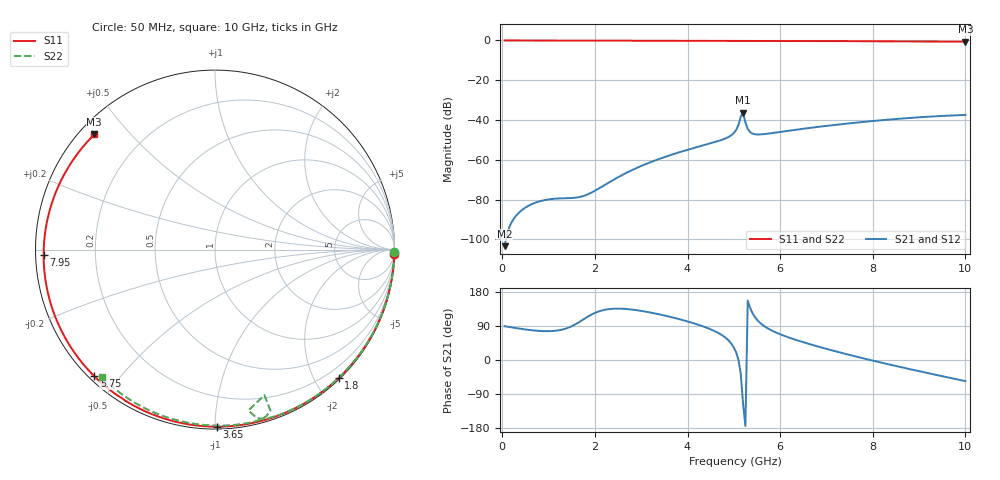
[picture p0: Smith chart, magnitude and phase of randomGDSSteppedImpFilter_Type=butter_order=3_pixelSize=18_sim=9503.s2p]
! freq	dB(S11)	phase(S11)	dB(S12)	phase(S12)
!  dB(S21)	phase(S21)	dB(S22)	phase(S22)
!S-par simulation data
#  GHz  S  DB  R 50
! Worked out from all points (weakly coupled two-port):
!   200 points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, 50 MHz to 10 GHz, reference 50 ohm
!   highest |S21| = -36.26 dB at 5.2 GHz (marker M1); lowest = -103.4 dB at 50 MHz (marker M2)
!   lowest |S11| = -0.6 dB at 10 GHz (marker M3), VSWR 27.42, Z = 2.12 + j20 ohm
!   |S11| at or under -10 dB: nowhere
!   |S22| runs from -1.3 to 0.0 dB; largest |S21 - S12| = 0
!   S11 on the Smith chart (normalised r, x): 50 MHz: 0, -87; 1.8 GHz: 0.02, -2.35; 3.65 GHz: 0.01, -1.01; 5.75 GHz: 0.02, -0.43; 7.95 GHz: 0.02, -0.02; 10 GHz: 0.04, +0.40
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0.05  -0.00 -1.3  -103.36 89.1  -103.36 89.1  -0.00 -0.8
0.85  -0.03 -22.1  -80.54 76.4  -80.54 76.4  -0.02 -12.9
1.75  -0.06 -44.8  -78.16 107.0  -78.16 107.0  -0.03 -26.3
1.8  -0.06 -46.0  -77.76 110.9  -77.76 110.9  -0.03 -27.0
2.7  -0.09 -67.7  -66.28 134.3  -66.28 134.3  -0.05 -40.1
3.4  -0.11 -83.8  -59.43 120.2  -59.43 120.2  -0.07 -50.1
3.65  -0.12 -89.4  -57.45 113.1  -57.45 113.1  -0.07 -53.6
4.8  -0.17 -114.1  -49.42 60.8  -49.42 60.8  -0.11 -69.8
5.05  -0.18 -119.3  -44.96 20.0  -44.96 20.0  -0.19 -74.5
5.1  -0.18 -120.4  -42.44 0.4  -42.44 0.4  -0.30 -76.1
5.15  -0.19 -121.5  -38.19 -36.5  -38.19 -36.5  -0.77 -78.3
5.2  -0.21 -122.4  -36.26 -117.0  -36.26 -117.0  -1.34 -71.3
5.25  -0.20 -123.4  -41.20 -174.4  -41.20 -174.4  -0.46 -71.0
5.3  -0.20 -124.4  -44.41 156.9  -44.41 156.9  -0.25 -72.9
5.35  -0.20 -125.4  -46.01 138.0  -46.01 138.0  -0.19 -74.2
5.5  -0.21 -128.5  -47.24 106.3  -47.24 106.3  -0.15 -77.0
5.75  -0.22 -133.6  -46.78 82.3  -46.78 82.3  -0.14 -80.7
6.7  -0.29 -152.7  -43.77 39.6  -43.77 39.6  -0.18 -92.9
7.95  -0.40 -178.1  -40.59 -0.2  -40.59 -0.2  -0.26 -107.9
8.35  -0.44 173.5  -39.75 -11.7  -39.75 -11.7  -0.29 -112.6
9.15  -0.54 156.1  -38.38 -33.5  -38.38 -33.5  -0.36 -121.8
10  -0.63 136.4  -37.43 -55.7  -37.43 -55.7  -0.45 -131.5
